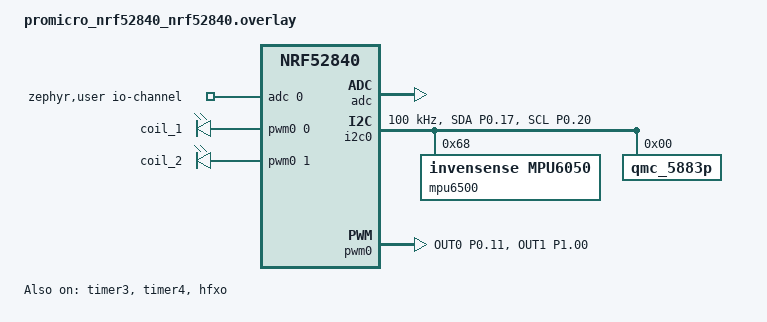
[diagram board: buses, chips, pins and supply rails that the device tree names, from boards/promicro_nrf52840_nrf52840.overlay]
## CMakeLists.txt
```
# SPDX-License-Identifier: Apache-2.0

cmake_minimum_required(VERSION 3.20.0)
find_package(Zephyr REQUIRED HINTS $ENV{ZEPHYR_BASE})
project(transmitter)


zephyr_include_directories(../common/include/)
zephyr_include_directories(src)

target_sources(app PRIVATE
  src/main.c
  src/pwm.c
  src/adc.c
  src/transmit_data.c
)

target_sources(app PRIVATE
  ../common/src/MadgwickAHRS.c
  ../common/src/imu.c
  ../common/src/qmc5883p.c
  ../common/src/orientation_handle.c
  ../common/src/data_handle.c
)
```

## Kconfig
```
config DEBUG_SHOW_SENSOR_DATA
  bool "Show sensor data"
  default n
  help
    If this is enabled, the output will be accelerometer, gyro, and magnetometer data

config DEBUG_SHOW_QUATERNIONS_DATA
  bool "Show quaternion data"
  default n
  help
    If this is enabled, quaternions will be output.

config RUN_QMC_CALIBRATION
  bool "Run calibration routine for magnetometer"
  default n
  help
    If this is enabled,  instead of running madgwick filter, it will run the calibration routine for the magnetometer, and output constants for you to update in IMU.c

config TX_SAMPLE_NUMBER
  int "Number of samples to use when calculating Tx phase and amp"
  default 100
  help
    Number of samples to use when calculating Tx phase and amp, higher numbers will increase accuracy at cost of performance.

config TX_BROADCAST_FREQUENCY
  int "Frequency of transmitter broadcasting bluetooth packets (Hz)"
  default 100
  help
    How frequently the transmitter broadcast packets containing quaternion and phase data to receivers

config TX_PWM_FREQUENCY
  int "Frequency of transmitter broadcasting signal (KHz)"
  default 32
  help
    How frequently transmitter antenna sends out signal in KHZ

config TX_ADC_FREQUENCY
  int "Frequency of ADC checking transmitter coils voltage(KHz)"
  default 200
  help
    Frequency of ADC checking transmitter coil voltage

config IS_RECEIVER
  bool "Is this the receiver device?"
  default n
  help
    Used to determine if this is the receiver device, some structs are not included in Tx, check data_handle.h for more details

source "Kconfig.zephyr"
```

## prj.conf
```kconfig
# required for running
CONFIG_I2C=y
CONFIG_SENSOR=y
CONFIG_PWM=y
CONFIG_MPU6050=y
CONFIG_CBPRINTF_FP_SUPPORT=y
CONFIG_BUILD_OUTPUT_UF2=y # change/remove this if not using promicro_nrf52840
CONFIG_STDOUT_CONSOLE=y
CONFIG_PRINTK=y
CONFIG_CBPRINTF_FP_SUPPORT=y
CONFIG_ADC=n


# Nordic
CONFIG_NRFX_SAADC=y
CONFIG_NRFX_GPPI=y
CONFIG_NRFX_TIMER=y
CONFIG_FPU=y

# Nordic NCS specific
CONFIG_ESB=y

# Debug flags
# CONFIG_LOG=y
# CONFIG_SENSOR_LOG_LEVEL_DBG=y
# CONFIG_SERIAL=y
# CONFIG_CONSOLE=y
# CONFIG_UART_CONSOLE=y
# CONFIG_UART_LINE_CTRL=y
# CONFIG_SHELL=y
# CONFIG_SHELL_BACKEND_SERIAL=y
# CONFIG_SHELL_PROMPT_UART="shell> "
# CONFIG_I2C_SHELL=y


# ---- extras
# CONFIG_DEBUG_SHOW_SENSOR_DATA=y
# CONFIG_RUN_QMC_CALIBRATION=y
```

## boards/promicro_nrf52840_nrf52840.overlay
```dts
/ {
  // required for setting ADC
  zephyr,user {
    io-channels=<&adc 0>;
  };

  tx: tx{
    compatible = "pwm-leds";

    coil_1: coil_1 {
      // this pin is used to pulse tx
      pwms = <&pwm0 0 31250 PWM_POLARITY_NORMAL>;

    };

    // keep this pin low for transmission
    coil_2: coil_2 {
      pwms = <&pwm0 1 31250 PWM_POLARITY_INVERTED >;
    };
  };


};

// enable ADC and PWM

&adc {
  status = "okay";
  compatible = "nordic,nrf-saadc";
};

&timer3 {
    status = "okay";
};

&timer4 {
    status = "okay";
};

&hfxo{
    status = "okay";
};

&clock{
    status = "okay";
};

&i2c0{
  // https://koen.vervloesem.eu/blog/how-to-change-the-default-i2c-pins-in-zephyr/
  status = "okay";
  compatible = "nordic,nrf-twim";
  pinctrl-0 = <&i2c0_default>;
  clock-frequency = <I2C_BITRATE_STANDARD>;
  pinctrl-1 = <&i2c0_sleep>;
  pinctrl-names = "default","sleep";
  mpu6500: mpu6500@68 {
      compatible = "invensense,mpu6050";
      reg = <0x68>;
      status = "okay";
      gyro-fs = <2000>;
      accel-fs = <2>;
  };
  qmc_5883p: qmc_5883p@0 {
    // use this to set which i2c bus you are using for qmc_5883p
    reg = <0x0>;
  };
};


//TODO: add proper sleep definition for pincrtl-1
&pwm0 {
  status = "okay";
  // set pin control with 'pwm0_default'
  pinctrl-0 = <&pwm0_default>;
  pinctrl-1 = <&pwm0_sleep>;
  pinctrl-names = "default","sleep";
};


// set up pins for PWM
&pinctrl {
    pwm0_default: pwm0_default {
        group1 {
          psels = <NRF_PSEL(PWM_OUT0, 0, 11)>,
            <NRF_PSEL(PWM_OUT1, 1, 00)>;
            };
    };

    pwm0_sleep: pwm0_sleep {
        group1 {
          psels = <NRF_PSEL(PWM_OUT0, 0, 11)>,
            <NRF_PSEL(PWM_OUT1, 1, 00)>;
            }; 
        low-power-enable;
    };

    i2c0_default: i2c0_default{
      group1 {
            psels = <NRF_PSEL(TWIM_SDA, 0, 17)>,
                    <NRF_PSEL(TWIM_SCL, 0, 20)>;
    };
      bias-pull-up;
  };

  i2c0_sleep: i2c0_sleep {
    group1 {
            psels = <NRF_PSEL(TWIM_SDA, 0, 17)>,
                    <NRF_PSEL(TWIM_SCL, 0, 20)>;

        low-power-enable;
    };
  };
};
```

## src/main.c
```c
#include "adc.h"
#include "orientation_handle.h"
#include "pwm.h"
#include "qmc5883p.h"
#include "transmit_data.h"

#include "zephyr/device.h"
#include "zephyr/sys/util_macro.h"
#include <zephyr/drivers/clock_control.h>
#include <zephyr/drivers/clock_control/nrf_clock_control.h>
#include <zephyr/drivers/sensor.h>
#include <zephyr/kernel.h>
#include <zephyr/sys/printk.h>

// #define THREAD_STACK_SIZE 2048
#define THREAD_STACK_SIZE 4096
#define THREAD_PRIORITY 7

// K_THREAD_STACK_DEFINE(adc_stack, THREAD_STACK_SIZE);
K_THREAD_STACK_DEFINE(adc_stack, 8192);
K_THREAD_STACK_DEFINE(transmit_stack, THREAD_STACK_SIZE);
K_THREAD_STACK_DEFINE(orientation_stack, THREAD_STACK_SIZE);

struct k_thread adc_thread_data;
struct k_thread transmit_thread_data;
struct k_thread orientation_thread_data;

int32_t _err;

void start_precision_clock(void) {
  const struct device *const clk = DEVICE_DT_GET_ONE(nordic_nrf_clock);
  if (!device_is_ready(clk)) {
    printk("Clock device not ready\n");
    return;
  }

  /* Start the high-frequency crystal oscillator (HFXO) */
  clock_control_on(clk, CLOCK_CONTROL_NRF_SUBSYS_HF);

  printk("HFXO precision clock started.\n");
}

int main(void) {

  k_msleep(1000);
  printk("Starting...\n");
  k_msleep(2000);

  printk("Start precison clock...\n");
  start_precision_clock();
  k_msleep(1000);

  printk("setting up PWM...\n");
  _err = setup_pwm();
  if (_err != 0) {
    printk("Error setting up PWM...\n");
    k_msleep(1000);
    return 0;
  }

  printk("setting up Sensors...\n");
  _err = setup_sensors();
  if (_err != 0) {
    return _err;
  }

  printk("All pins are ready!\n");

  printk("setting up transmitter...\n");
  _err = setup_transmitter();
  if (_err != 0) {
    return 0;
  }

  if (IS_ENABLED(CONFIG_RUN_QMC_CALIBRATION)) {
    static const struct device *i2c_dev =
        DEVICE_DT_GET(DT_BUS(DT_NODELABEL(qmc_5883p)));
    qmc_calibration_routine(i2c_dev);
    // exit from function
    return 0;
  }

  k_thread_create(&adc_thread_data, adc_stack, K_THREAD_STACK_SIZEOF(adc_stack),
                  start_adc_thread, NULL, NULL, NULL, THREAD_PRIORITY, 0,
                  K_NO_WAIT);

  k_thread_create(&transmit_thread_data, transmit_stack,
                  K_THREAD_STACK_SIZEOF(transmit_stack), start_transmit_thread,
                  NULL, NULL, NULL, THREAD_PRIORITY, 0, K_NO_WAIT);

  k_thread_create(&orientation_thread_data, orientation_stack,
                  K_THREAD_STACK_SIZEOF(orientation_stack),
                  run_orientation_loop, NULL, NULL, NULL, THREAD_PRIORITY, 0,
                  K_NO_WAIT);
  while (1) {
    k_sleep(K_FOREVER);
  }
  return 0;
}
```

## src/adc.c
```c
#include "data_handle.h"
#include "hal/nrf_timer.h"
#include "nrfx_templates_config.h"
#include <helpers/nrfx_gppi.h>
#include <math.h>
#include <nrfx_saadc.h>
#include <nrfx_timer.h>
#include <stdint.h>
#include <zephyr/devicetree.h>
#include <zephyr/irq.h>
#include <zephyr/kernel.h>
#include <zephyr/sys/printk.h>

#include "nrfx_templates_config.h"
#include "transmit_data.h"
#include <math.h>

#include "adc.h"

#define PI 3.14159265f
#define SAADC_INPUT_PIN NRF_SAADC_INPUT_AIN0 // pin 0.02

K_SEM_DEFINE(adc_semaphore, 0, 1);
K_SEM_DEFINE(adc_radio_sync_semaphore, 0, 1);

// setup timer
static nrfx_timer_t timer_inst = NRFX_TIMER_INSTANCE(NRF_TIMER_INST_GET(3));

static nrfx_timer_t tx_timer = NRFX_TIMER_INSTANCE(NRF_TIMER_INST_GET(4));

int16_t sample_buf[CONFIG_TX_SAMPLE_NUMBER];
int32_t val_mv;
int32_t err;

// NOTE: store 100(default) signal entries for phase and amp calculation
static float amp_bias;
struct cached_sin_cos_t cached_s_c = {.sine = {}, .cosine = {}};

static void saadc_handler(nrfx_saadc_evt_t const *p_event) {
  switch (p_event->type) {
  case NRFX_SAADC_EVT_DONE:
    k_sem_give(&adc_semaphore);
    break;
  }
}

int config_saadc() {
  int err;
  // incredibly useful:
  // https://github.com/zephyrproject-rtos/hal_nordic/tree/master/nrfx/samples/src/nrfx_saadc/advanced_non_blocking_internal_timer
  IRQ_CONNECT(NRFX_IRQ_NUMBER_GET(NRF_SAADC), IRQ_PRIO_LOWEST,
              nrfx_saadc_irq_handler, 0, 0);

  // irq_enable(NRFX_IRQ_NUMBER_GET(NRF_SAADC));
  err = nrfx_saadc_init(NRFX_SAADC_DEFAULT_CONFIG_IRQ_PRIORITY);
  if (err != 0) {
    printk("Error setting up SAADC: %d\n", err);
    return err;
  }
  // setup ADC pin for use
  nrfx_saadc_channel_t default_channel =
      NRFX_SAADC_DEFAULT_CHANNEL_SE(SAADC_INPUT_PIN, 0);

  // setup channel for 3 microsecond
  default_channel.channel_config.acq_time = NRF_SAADC_ACQTIME_3US;
  // setup channel for 3 microsecond, NO resistors, and 3.3V scaling
  default_channel.channel_config.acq_time = NRF_SAADC_ACQTIME_3US;
  default_channel.channel_config.gain = NRF_SAADC_GAIN1_6; // Multiply by 1/4
  //

  err = nrfx_saadc_channel_config(&default_channel);

  if (err != 0) {
    printk("Error setting up SAADC channel: %d\n", err);
    return err;
  }

  nrfx_saadc_adv_config_t adv_config = NRFX_SAADC_DEFAULT_ADV_CONFIG;

  uint32_t channel_mask = nrfx_saadc_channels_configured_get();

  err = nrfx_saadc_advanced_mode_set(channel_mask, NRF_SAADC_RESOLUTION_12BIT,
                                     &adv_config, saadc_handler);

  if (err != 0) {
    return err;
  }

  // init buffer
  // nrfx_saadc_buffer_set(sample_buf, CONFIG_TX_SAMPLE_NUMBER);

  nrf_saadc_channel_input_set(NRF_SAADC, 0, SAADC_INPUT_PIN,
                              NRF_SAADC_INPUT_DISABLED);

  return 0;
}

int config_timer() {
  // incredibly useful:
  // https://github.com/zephyrproject-rtos/hal_nordic/tree/master/nrfx/samples/src/nrfx_timer
  IRQ_CONNECT(NRFX_IRQ_NUMBER_GET(NRF_TIMER3), IRQ_PRIO_LOWEST,
              nrfx_timer_irq_handler, &timer_inst, 0);

  // get frequency from register - returns 0 for 16mhz
  uint32_t frequency = NRF_TIMER_BASE_FREQUENCY_GET(timer_inst.p_reg);
  nrfx_timer_config_t config = NRFX_TIMER_DEFAULT_CONFIG(frequency);

  int err = nrfx_timer_init(&timer_inst, &config, NULL);
  if (err != 0) {
    printk("error setting up timer: d%", err);
    return err;
  }

  // nrfx_timer_clear(&timer_inst);

  // need 100 ticks to get 160khz (default ADC value) from 16mhz e.g. 16,000,000
  // get khz
  uint32_t desired_ticks = frequency / (CONFIG_TX_ADC_FREQUENCY * 1000);

  nrfx_timer_extended_compare(&timer_inst, NRF_TIMER_CC_CHANNEL0, desired_ticks,
                              NRF_TIMER_SHORT_COMPARE0_CLEAR_MASK, false);

  nrfx_timer_enable(&timer_inst);
  printk("Started timer ticking every %d ticks\n", desired_ticks);
  k_msleep(1000);

  return 0;
}

int config_ppi() {
  // set up generic PPI
  nrfx_gppi_handle_t gppi_handle;
  nrfx_gppi_handle_t gppi_start;
  nrfx_gppi_handle_t gppi_adc_timestamp;

  // connect timer event compare0 to saadc task sample (take a sample each time
  // timer ticks)
  int err = nrfx_gppi_conn_alloc(
      nrf_timer_event_address_get(NRF_TIMER3, NRF_TIMER_EVENT_COMPARE0),
      nrf_saadc_task_address_get(NRF_SAADC, NRF_SAADC_TASK_SAMPLE),
      &gppi_handle);

  if (err != 0) {
    return err;
  }

  // when buffer is full start new SAADC task
  nrfx_gppi_conn_alloc(
      nrf_saadc_event_address_get(NRF_SAADC, NRF_SAADC_EVENT_STARTED),
      nrf_timer_task_address_get(NRF_TIMER3, NRF_TIMER_TASK_START),
      &gppi_start);
  if (err != 0) {
    return err;
  }

  // timestamp when ADC has finished taking readings
  err = nrfx_gppi_conn_alloc(
      nrf_saadc_event_address_get(NRF_SAADC, NRF_SAADC_EVENT_STARTED),
      nrf_timer_task_address_get(NRF_TIMER4, NRF_TIMER_TASK_CAPTURE3),
      &gppi_adc_timestamp);
  if (err != 0) {
    return err;
  }

  // enable this connection
  nrfx_gppi_conn_enable(gppi_start);
  nrfx_gppi_conn_enable(gppi_handle);
  nrfx_gppi_conn_enable(gppi_adc_timestamp);
  return 0;
}

int tx_matched_filter(struct cached_sin_cos_t *cached_s_c) {
  // NOTE: signal buf should be an array of samples from ADC
  float sin_accumulation = 0.0f;
  float cos_accumulation = 0.0f;
  float amp = 0.0f;
  float phase = 0.0f;
  int32_t dc_sum = 0;

  for (int i = 0; i < CONFIG_TX_SAMPLE_NUMBER; i++) {
    dc_sum += sample_buf[i];
  }
  // centre offset
  float true_dc_offset = (float)dc_sum / (float)CONFIG_TX_SAMPLE_NUMBER;

  for (int i = 0; i < CONFIG_TX_SAMPLE_NUMBER; i++) {
    float ac_wave_signal = (float)sample_buf[i] - true_dc_offset;

    sin_accumulation += (cached_s_c->sine[i] * ac_wave_signal);
    cos_accumulation += (cached_s_c->cosine[i] * ac_wave_signal);
  }

  amp = ((sqrtf(powf(sin_accumulation, 2) + powf(cos_accumulation, 2)) /
          CONFIG_TX_SAMPLE_NUMBER));
  // multiply by 2 because the amplitude was divided by 2
  amp = amp * 2.0f;

  // normalise to volts, 4096 because its the ADC bit depth .e.g. 2**12
  // 3.6 because its the gain range for ADC 1/6
  // gets peak voltage in volts
  amp = (amp / 4096.0f) * 3.6f;

  // dependent on coil direction
  phase = atan2f(-sin_accumulation, cos_accumulation);
  uint32_t adc_timestamp =
      nrfx_timer_capture_get(&tx_timer, NRF_TIMER_CC_CHANNEL3);

  // update container
  update_signal_data(amp, phase, adc_timestamp);
  // use semaphore
  k_sem_give(&adc_radio_sync_semaphore);

  return 0;
}

// TODO: make a thread function which keeps track of signal buffer and updates
// shared data var would need to call read ADC a couple of times and then save
// result in buffer

void start_adc_thread(void *, void *, void *) {
  // this function acts as entry point for starting a thread
  // if the next buffer is ready to be filled
  int err;

  printk("setting up adc\n");
  err = setup_sin_cos_cache(&cached_s_c);
  if (err != 0) {
    printk("Failed to setup sine and cosine cache: %d\n", err);
    // NOTE: should continue and read to read again
  }

  // NOTE: 12 is comming from ADC bit resolution, this should probably be
  // place in the KCONFIG
  amp_bias = 3.3 / powf(2, 12);

  printk("setting up saadc\n");
  config_saadc();
  printk("setting up ppi\n");
  config_ppi();
  printk("setup ppi\n");
  irq_enable(DT_IRQN(DT_NODELABEL(adc)));
  printk("setting up timer\n");
  k_msleep(1000);

  config_timer();

  // nrf_saadc_task_trigger(NRF_SAADC, NRF_SAADC_TASK_START);
  printk("ADC setup finished, taking samples at %d Hz\n",
         CONFIG_TX_BROADCAST_FREQUENCY);
  while (1) {
    // printk("Starting ADC loop\n");
    // k_msleep(1000);
    nrfx_timer_clear(&timer_inst);
    // printk("Clear timer\n");
    // k_msleep(1000);
    nrfx_saadc_buffer_set(sample_buf, CONFIG_TX_SAMPLE_NUMBER);
    // printk("Buffer set\n");
    // k_msleep(1000);

    nrfx_saadc_mode_trigger();
    // printk("Triggeeredd\n");
    // k_msleep(1000);
    nrfx_timer_enable(&timer_inst);
    // printk("enabled timer\n");
    // k_msleep(1000);
    // use semaphore to know when samples ready
    k_sem_take(&adc_semaphore, K_FOREVER);
    // printk("taken semaphore\n");
    // k_msleep(1000);
    nrfx_timer_disable(&timer_inst);
    // printk("disabled timer\n");
    // k_msleep(1000);
    tx_matched_filter(&cached_s_c);
    // printk("matched teh fileer\n");
    // k_msleep(1000);
    k_msleep(1000 / CONFIG_TX_BROADCAST_FREQUENCY);
  }
}
```

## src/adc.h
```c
#ifndef ADC_H
#define ADC_H

#include <nrfx_saadc.h>
#include <zephyr/kernel.h>
#include <zephyr/sys/printk.h>

static void saadc_handler(nrfx_saadc_evt_t const *p_event);

int config_saadc();

int config_timer();

int config_ppi();

int tx_matched_filter(struct cached_sin_cos_t *cached_s_c);

void start_adc_thread(void *, void *, void *);

#endif
```

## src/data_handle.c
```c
#include "data_handle.h"
#include <zephyr/kernel.h>

// handles data: quaternions, amp and phase
// in a thead safe way
// TODO: let the data container struct be passed in form args

K_MUTEX_DEFINE(container_mutex);

// struct data_container_t  data_container;
// struct data_container_t data_container = {
//     .q0 = 0.0, .q1 = 1.1, .q2 = 2.2, .q3 = 3.3, .tx_phase = 4.4, .tx_amp = 5.5};

struct data_container_t data_container = {0};

void update_orientation_data(float q0, float q1, float q2, float q3) {
  // lock
  k_mutex_lock(&container_mutex, K_FOREVER);

  // Update struct
  data_container.q0 = q0;
  data_container.q1 = q1;
  data_container.q2 = q2;
  data_container.q3 = q3;

  // release lock
  k_mutex_unlock(&container_mutex);
}

void update_signal_data(float amp, float phase) {
  // lock
  k_mutex_lock(&container_mutex, K_FOREVER);

  // Update struct
  data_container.tx_amp = amp;
  data_container.tx_phase = phase;

  // release lock
  k_mutex_unlock(&container_mutex);
}

void read_data(struct data_container_t *data_destination) {
  // struct data_container_t data_container = {.q0 = 0.0f,
  //                                           .q1 = 1.1f,
  //                                           .q2 = 2.2f,
  //                                           .q3 = 3.3f,
  //                                           .tx_phase = 4.4f,
  //                                           .tx_amp = 5.5f};

  // stores data in data destination struct;
  k_mutex_lock(&container_mutex, K_FOREVER);
  *data_destination = data_container;
  k_mutex_unlock(&container_mutex);
}
```

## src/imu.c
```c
#include "imu.h"
#include "orientation_handle.h"
#include <zephyr/drivers/sensor.h>
#include <zephyr/sys/printk.h>

#define IMU DT_NODELABEL(mpu6500)

static const struct device *imu_dev = DEVICE_DT_GET(IMU);

struct sensor_value accel[3];
struct sensor_value gyro[3];

float sensor_val_to_float(const struct sensor_value *val) {
  return (float)val->val1 + ((float)val->val2 / 1000000.0f);
}

int setup_imu() {
  if (!device_is_ready(imu_dev)) {
    return 0;
  }
  return 1;
}

int read_imu(struct sensor_data_struct *data) {
  int ret = sensor_sample_fetch(imu_dev);
  if (ret < 0) {
    printk("fetching IMU data failed (Error: %d)\n", ret);
  }

  sensor_channel_get(imu_dev, SENSOR_CHAN_ACCEL_XYZ, accel);
  sensor_channel_get(imu_dev, SENSOR_CHAN_ACCEL_XYZ, gyro);
  float ax = sensor_val_to_float(&accel[0]);
  float ay = sensor_val_to_float(&accel[1]);
  float az = sensor_val_to_float(&accel[2]);

  float gx = sensor_val_to_float(&gyro[0]);
  float gy = sensor_val_to_float(&gyro[1]);
  float gz = sensor_val_to_float(&gyro[2]);

  // printk("A: %.2f %.2f %.2f | G: %.2f %.2f %.2f\n", ax, ay, az, gx, gy, gz);
  data->accel_x = ax;
  data->accel_y = ay;
  data->accel_z = az;
  data->gyro_x = gx;
  data->gyro_y = gy;
  data->gyro_z = gz;
  return 0;
}
```

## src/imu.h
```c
#ifndef IMU_H
#define IMU_H
#include <zephyr/sys/printk.h>
#include <zephyr/drivers/sensor.h>
#include "orientation_handle.h"


float sensor_val_to_float(const struct sensor_value *val);

int setup_imu();
int read_imu(struct sensor_data_struct *data);

#endif
```

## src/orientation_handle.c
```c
#include "data_handle.h"
#include "orientation_handle.h"
#include "imu.h"
#include "lib/MadgwickAHRS.h"
#include "qmc5883p.h"
#include "zephyr/device.h"
#include "zephyr/sys/util_macro.h"
#include <zephyr/device.h>
#include <zephyr/drivers/sensor.h>
#include <zephyr/kernel.h>
#include <zephyr/sys/printk.h>

// define constants
#define I2C DT_NODELABEL(i2c0)
#define GRAVITY 9.81f

static const struct device *i2c_dev =
    DEVICE_DT_GET(DT_BUS(DT_NODELABEL(qmc_5883p)));

// purpose of this file is to convert all sensor data into quaternions using
// Madgwick filter

static struct qmc_data mag_data;
static struct sensor_data_struct raw_sensor_data;

int setup_sensors() {
  int ret;
  ret = setup_imu();
  if (ret != 0) {
    return ret;
  }
  ret = setup_qmc5883p(i2c_dev);
  ret = setup_imu();
  if (ret != 0) {
    return ret;
  }
  return 0;
}

int read_sensors() {
  int ret;

  ret = read_imu(&raw_sensor_data);
  if (ret != 0) {
    return ret;
  }
  ret = qmc_read_sensor_data(i2c_dev, &mag_data);
  if (ret != 0) {
    return ret;
  }

  raw_sensor_data.mag_x = mag_data.x;
  raw_sensor_data.mag_y = mag_data.y;
  raw_sensor_data.mag_z = mag_data.z;

  if (IS_ENABLED(CONFIG_DEBUG_SHOW_SENSOR_DATA)) {
    printk("acc | x:%.2f | y:%.2f | z:%.2f |\ngyro | x:%.2f | y:%.2f | z:%.2f "
           "\nmag | x%d | y%d | z%d \n",
           raw_sensor_data.accel_x, raw_sensor_data.accel_y,
           raw_sensor_data.accel_z, raw_sensor_data.gyro_x,
           raw_sensor_data.gyro_y, raw_sensor_data.gyro_z,
           raw_sensor_data.mag_x, raw_sensor_data.mag_y, raw_sensor_data.mag_z);
  }
  return 0;
}

int convert_raw(struct sensor_data_struct *data) {
  data->accel_x /= GRAVITY;
  data->accel_y /= GRAVITY;
  data->accel_z /= GRAVITY;
  return 0;
}

void update_madgwick(struct sensor_data_struct *data) {
  MadgwickAHRSupdate(data->gyro_x, -data->gyro_z, data->gyro_y, data->accel_x,
                     -data->accel_z, data->accel_y, data->mag_x, -data->mag_z,
                     -data->mag_y);
  // MadgwickAHRSupdateIMU(data->gyro_x, -data->gyro_z, data->gyro_y,
  // data->accel_x, -data->accel_z, data->accel_y);
}

void run_orientation_loop(void *, void *, void *) {
  setup_sensors();
  int startup_counter = 0;
  int print_counter = 0;
  bool finished_startup = false;
  // NOTE: if there are performance issue can move the start up function out of while loop to stop beta reassignment each loop

  while (1) {
    read_sensors();
    convert_raw(&raw_sensor_data);
    update_madgwick(&raw_sensor_data);

    if (!finished_startup && startup_counter <= 1000) {
      // NOTE: fix to true north, start super sensitive and then reduce beta
      startup_counter++;
      beta = 5.0f;
    } else {
      beta = 0.8f;
    }

    if (IS_ENABLED(CONFIG_DEBUG_SHOW_QUATERNIONS_DATA)) {
      if (print_counter++ >= 5) {
        // q0 = W (Scalar), q1 = X, q2 = Y, q3 = Z
        printk("%.4f,%.4f,%.4f,%.4f\n", (double)q0, (double)q1, (double)q2,
               (double)q3);

        print_counter = 0;
      }
    }

    // update data container
    update_orientation_data(q0,q1,q2,q3);

    k_msleep(1000 / CONFIG_TX_BROADCAST_FREQUENCY);
  }
}
```

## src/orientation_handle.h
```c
#ifndef ORIENTATION_HANDLE_H
#define ORIENTATION_HANDLE_H

#include <stdint.h>
#include <zephyr/device.h>
#include <zephyr/drivers/sensor.h>
#include <zephyr/kernel.h>
#include <zephyr/sys/printk.h>

struct sensor_data_struct {
    int16_t mag_x;
    int16_t mag_y;
    int16_t mag_z;
    float accel_x;
    float accel_y;
    float accel_z;
    float gyro_x;
    float gyro_y;
    float gyro_z;
};

int setup_sensors();

int read_sensors();

void run_orientation_loop(void *, void *, void *);

void update_madgwick();

int convert_raw(struct sensor_data_struct *data);

#endif
```

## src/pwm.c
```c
#include "pwm.h"
#include <zephyr/drivers/pwm.h>
#include <zephyr/kernel.h>
#include <zephyr/sys/printk.h>

#define COIL_1 DT_NODELABEL(coil_1)
#define COIL_2 DT_NODELABEL(coil_2)

#define PERIOD PWM_KHZ(32)
#define DUTY_CYCLE 0.33f
#define PULSE ((uint32_t)(PERIOD * DUTY_CYCLE))
// #define PULSE ( PERIOD / 2 )

// Get PWM pins to drive transmitter
static const struct pwm_dt_spec pwms[] = {PWM_DT_SPEC_GET(COIL_1),
                                          PWM_DT_SPEC_GET(COIL_2)};

int setup_pwm() {
  // check transmission coils are ready
  for (int i = 0; i < 2; i++) {
    // go through all pin indexes
    if (!pwm_is_ready_dt(&pwms[i])) {
      // issue with this
      printk("Pin %d is not ready\n", i);
      return -1;
    }
  }
  int err;

  printk("setting pwm to 32 khz\n");
  // setting just one for now to not fry board - direct driving the tx antenna
  printk("PERIOD=%lu, PULSE=%lu\n", (unsigned long)PERIOD, (unsigned long)PULSE);
  // printk("PERIOD=%lu, PULSE=%lu\n", (unsigned long)PERIOD, (unsigned long) 0);
  err = pwm_set_dt(&pwms[0], PERIOD, PULSE);
  // err = pwm_set_dt(&pwms[0], PERIOD,0);
  if (err) {
    // issue with this
    printk("Could not setup PWM\n");
    return -1;
  }
  pwm_set_dt(&pwms[1], PERIOD, PULSE);
  // pwm_set_dt(&pwms[1], PERIOD, 0);
  return 0;
}
```

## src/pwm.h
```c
#ifndef PWM_H
#define PWM_H

#include <zephyr/drivers/pwm.h>
#include <zephyr/kernel.h>
#include <zephyr/sys/printk.h>

int setup_pwm();

#endif
```

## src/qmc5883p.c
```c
// I would like to credit Granddyser for their QMC5883P implementation for
// ardunio I have used it as a reference to create this driver. their github can
// be found here: https://github.com/Granddyser

#include "qmc5883p.h"
#include "zephyr/logging/log_core.h"
#include <sys/errno.h>
#include <zephyr/device.h>
#include <zephyr/drivers/i2c.h>
#include <zephyr/kernel.h>
#include <zephyr/logging/log.h>
#include <zephyr/sys/printk.h>

#define CHIP_ID 0x00
#define CTRL_REG_1 0x0A
#define CTRL_REG_2 0x0B
#define START_REG 0x01
#define QMC5883P_ADDR 0x2c

// configuration
#define MODE 0x03
// mode: 0 suspend | 0x1 normal | 0x2  single | 0x3 continuous
#define ODR 0x03
// output data rate: 0x0 10hz | 0x1 50hz | 0x2 100hz | 0x3 200hz
#define OSR1 0x00
// over sample ratio: 0x0 8 | 0x1 4 | 0x2 2 | 0x3 1
#define OSR2 0x00
// down sampling rate: 0x0 1 | 0x1 2 | 0x2 4| 0x3 8

// bitwise shift and or
#define CONFIG ((OSR2 << 6) | (OSR1 << 4) | (ODR << 2) | MODE)

#define MAG_OFFSET_X 262.00
#define MAG_OFFSET_Y -71.00
#define MAG_OFFSET_Z -10.00
#define MAG_SCALE_X 0.9842
#define MAG_SCALE_Y 1.0013
#define MAG_SCALE_Z 1.0149

float mag_offset_x = MAG_OFFSET_X;
float mag_offset_y = MAG_OFFSET_Y;
float mag_offset_z = MAG_OFFSET_Z;
float mag_scale_x = MAG_SCALE_X;
float mag_scale_y = MAG_SCALE_Y;
float mag_scale_z = MAG_SCALE_Z;

LOG_MODULE_REGISTER(qmc5883p, LOG_LEVEL_INF);
// device pointer
// static const struct device *i2c_dev = DEVICE_DT_GET(I2C_NODE);

int qmc_write_reg(const struct device *i2c_dev, uint8_t reg, uint8_t value) {
  // make buffer to store data
  uint8_t buffer[2];
  buffer[0] = reg;
  buffer[1] = value;
  // send data over i2c bus
  int ret = i2c_write(i2c_dev, buffer, 2, QMC5883P_ADDR);
  if (ret != 0) {
    LOG_ERR("Error writing to register 0x%02X\n", reg);
  }
  return ret;
}

int setup_qmc5883p(const struct device *i2c_dev) {
  // set payload here to start configuration after establishing i2c;
  // check device is ready
  if (!device_is_ready(i2c_dev)) {
    LOG_ERR("I2C bus is not ready\n");
    return ENODEV;
  }
  // check that the chip is correct
  uint8_t buffer[1];
  i2c_reg_read_byte(i2c_dev, QMC5883P_ADDR, 0x0, buffer);
  if (buffer[0] != 0x80) {
    // this is not the device
    LOG_ERR("this is not a QMC5883p device is %d", buffer[0]);
  }
  LOG_INF("QMC5883p device is %d", buffer[0]);

  // soft reset qmc5883p
  int ret = qmc_write_reg(i2c_dev, CTRL_REG_2, 0x80);
  if (ret != 0) {
    LOG_ERR("Could not soft reset qmc5883p, exiting with error: %d\n", ret);
    return ret;
  }
  // wait for reset
  k_msleep(10);

  // turn on measurement loop
  ret = qmc_write_reg(i2c_dev, CTRL_REG_2, 0x01);
  if (ret != 0) {
    LOG_ERR("Could not set FBR/Set-Reset, error: %d\n", ret);
    return ret;
  }

  // set config
  ret = qmc_write_reg(i2c_dev, CTRL_REG_1, CONFIG);
  if (ret != 0) {
    LOG_ERR("Could not config qmc5883p, exiting with error: %d\n", ret);
    return ret;
  }
  LOG_INF("successfully setup qmc5883p continuing with configuration 0x%02X",
          CONFIG);
  return ret;
}

int qmc_read_sensor_data(const struct device *i2c_dev,
                         struct qmc_data *buffer) {
  // buffer should array of size 3 for xyz
  int ret;
  uint8_t raw_data[6];

  // read 6 bytes from start reg, this is defined in QMC5883p datasheet
  ret = i2c_burst_read(i2c_dev, QMC5883P_ADDR, START_REG, raw_data, 6);

  if (ret == 0) {
    // bit shift and  bitwise or to create full signed value from registers
    int16_t x = (raw_data[1] << 8) | raw_data[0];
    int16_t y = (raw_data[3] << 8) | raw_data[2];
    int16_t z = (raw_data[5] << 8) | raw_data[4];
    buffer->x = (x - mag_offset_x) * mag_scale_x;
    buffer->y = (y - mag_offset_y) * mag_scale_y;
    buffer->z = (z - mag_offset_z) * mag_scale_z;
  } else {
    // failed to get register values set buffer to 0 and warn
    buffer->x = 0;
    buffer->y = 0;
    buffer->z = 0;
    LOG_ERR("could not read values from qmc5883p");
  }
  return ret;
}

int qmc_calibration_routine(const struct device *i2c_dev) {
  printk("you are now running the calibration routine, this will find offsets "
         "for hard and soft metals\n");
  printk("please rotate the device in a figure of 8 pattern to expose to "
         "magnetic fields in vicinity\n");
  struct qmc_data data;
  // Start with opposite extremes
  int16_t min_x = 32000, max_x = -32000;
  int16_t min_y = 32000, max_y = -32000;
  int16_t min_z = 32000, max_z = -32000;
  // set offsets to 0 and scale to 1 to get raw data
  mag_offset_x,mag_offset_y,mag_offset_z = 0.0f;
  mag_scale_x,mag_scale_y,mag_scale_z = 1.0f;

  for (int i = 0; i < 6000; i++) {
    if (qmc_read_sensor_data(i2c_dev, &data) == 0) {
      // printk("%d,%d,%d\n", data.x, data.y, data.z);
      // Update Min/Max for X
      if (data.x < min_x)
        min_x = data.x;
      if (data.x > max_x)
        max_x = data.x;
      // Update Min/Max for Y
      if (data.y < min_y)
        min_y = data.y;
      if (data.y > max_y)
        max_y = data.y;
      // Update Min/Max for Z
      if (data.z < min_z)
        min_z = data.z;
      if (data.z > max_z)
        max_z = data.z;
    }
    if (i % 100 == 0)
      printk("."); // Progress dot
    k_msleep(10);
  }

  // hard iron offsets
  float off_x = (max_x + min_x) / 2.0f;
  float off_y = (max_y + min_y) / 2.0f;
  float off_z = (max_z + min_z) / 2.0f;

  // soft iron scale - this is probably not the correct way to do it
  float scale_x = (max_x - min_x) / 2.0f;
  float scale_y = (max_y - min_y) / 2.0f;
  float scale_z = (max_z - min_z) / 2.0f;

  float avg_radius = (scale_x + scale_y + scale_z) / 3.0f;

  float scale_factor_x = avg_radius / scale_x;
  float scale_factor_y = avg_radius / scale_y;
  float scale_factor_z = avg_radius / scale_z;

  printk("\n\n--- CALIBRATION RESULTS ---\n");
  printk("Copy these macros into your code:\n\n");

  printk("#define MAG_OFFSET_X  %.2f\n", off_x);
  printk("#define MAG_OFFSET_Y  %.2f\n", off_y);
  printk("#define MAG_OFFSET_Z  %.2f\n", off_z);

  printk("#define MAG_SCALE_X   %.4f\n", scale_factor_x);
  printk("#define MAG_SCALE_Y   %.4f\n", scale_factor_y);
  printk("#define MAG_SCALE_Z   %.4f\n", scale_factor_z);
  return 0;
}
```

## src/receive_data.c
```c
#include "data_handle.h"
#import "receive_data.h"
#include "zephyr/bluetooth/assigned_numbers.h"
#include <stdint.h>
#include <string.h>
#include <zephyr/bluetooth/bluetooth.h>
#include <zephyr/bluetooth/hci.h>

struct packet_content_t {
  bool found_tx;
  bool found_data;
  uint8_t raw_data[20];
};

static struct data_container_t data_container;

struct bt_le_scan_param scan_param = {
    .type = BT_LE_SCAN_TYPE_ACTIVE,
    // .options = BT_LE_SCAN_OPT_FILTER_DUPLICATE,
    // .options = BT_LE_SCAN_OPT_FILTER_DUPLICATE,
    .interval = BT_GAP_SCAN_FAST_INTERVAL_MIN,
    .window = BT_GAP_SCAN_FAST_WINDOW,
};

bool ad_parse_cb(struct bt_data *data, void *user_data) {
  // checks if bluetooth packets are from transmitter and gets data out
  struct packet_content_t *content = user_data;
  if (data->type == BT_DATA_NAME_COMPLETE ||
      data->type == BT_DATA_NAME_SHORTENED) {
    // TODO: make adjustable advertising name for rx and tx (the sVR part)
    if (data->data_len && memcmp(data->data, "sVR", 3) == 0) {
      content->found_data = true;
    }
  }
  if (data->type == BT_DATA_MANUFACTURER_DATA) {
    // check this is using our manufacturer data e.g. 0xff 0xff
    // TODO: make manufacture ID data adjustable
    if (data->data_len == 22) {
      uint16_t manufacture_id =
          data->data[0] | (data->data[1] << 8); // Little-endian ID;
      if (manufacture_id == 0xFFFF) {
        memcpy(content->raw_data, &data->data[2], 20);
        content->found_tx = true;
      }
    }
  }
  return true;
}

static void device_found_cb(const bt_addr_le_t *addr, int8_t rssi, uint8_t type,
                            struct net_buf_simple *ad) {
  char addr_str[BT_ADDR_LE_STR_LEN];

  bt_addr_le_to_str(addr, addr_str, sizeof(addr_str));
  // printk("Device found: %s (RSSI %d), type %u, AD data len %u\n", addr_str,
  //        rssi, type, ad->len);

  // check found device is a transmitter
  struct packet_content_t packet_content = {0};
  bt_data_parse(ad, ad_parse_cb, &packet_content);

  if (packet_content.found_tx && packet_content.found_data) {
    // copy received data into data container
    printk("Found device!!!\n");

    read_data(&data_container);

    memcpy(&data_container.q0, &packet_content.raw_data[0], 4);
    memcpy(&data_container.q1, &packet_content.raw_data[4], 4);
    memcpy(&data_container.q2, &packet_content.raw_data[8], 4);
    memcpy(&data_container.q3, &packet_content.raw_data[12], 4);
    memcpy(&data_container.tx_phase, &packet_content.raw_data[16], 4);

    printk("Receiving data: %.2f, %.2f, %.2f, %.2f | %.4f\n", data_container.q0,
           data_container.q1, data_container.q2, data_container.q3,
           data_container.tx_phase);
  }
}

int receiver_start() {
  int err;

  err = bt_le_scan_start(&scan_param, device_found_cb);
  if (err) {
    printk("Start scanning failed (err %d)\n", err);
    return err;
  }
  printk("Started scanning...\n");

  return 0;
}

int setup_rec_bt() {
  int err;
  err = bt_enable(NULL);
  if (err) {
    printk("Bluetooth init failed (err %d)\n", err);
    return 0;
  }
}
```

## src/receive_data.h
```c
#ifndef DATA_HANDLE_H
#define DATA_HANDLE_H

#include "data_handle.h"
#include <zephyr/bluetooth/bluetooth.h>
#include <zephyr/bluetooth/hci.h>

int receiver_start();

static void device_found_cb(const bt_addr_le_t *addr, int8_t rssi, uint8_t type,struct net_buf_simple *ad);

int setup_rec_bt();


bool ad_parse_cb(struct bt_data *data, void *user_data);

#endif
```
